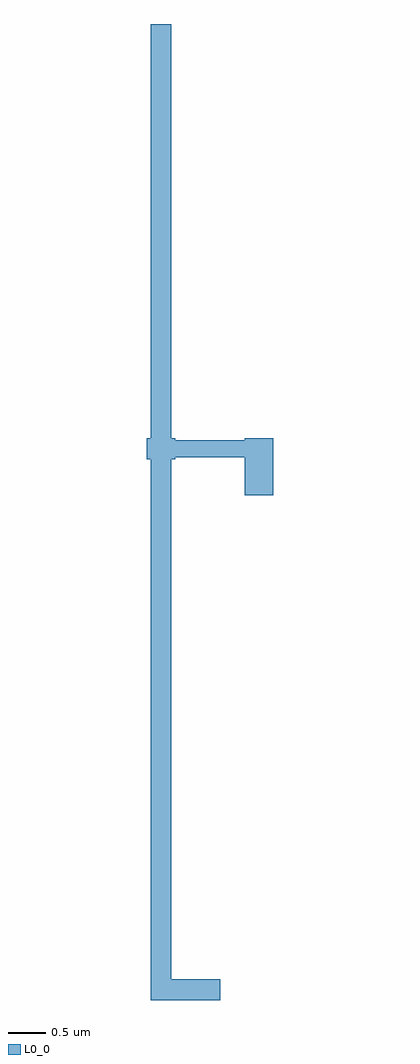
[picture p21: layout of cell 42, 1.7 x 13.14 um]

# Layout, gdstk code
import gdstk
lib = gdstk.Library(unit=1e-6, precision=1e-09)
def P(c, l, *ps):  # polygons
    for p in ps: c.add(gdstk.Polygon(p, *l))
L0_0 = (0, 0)

c_42 = lib.new_cell('42')
P(c_42, L0_0, [(949.295,994.395),(950.73,994.395),(950.73,994.165),(949.295,994.165),(949.295,994.395)],
  [(949.22,994.42),(949.6,994.42),(949.6,994.14),(949.22,994.14),(949.22,994.42)],
  [(950.54,994.42),(950.92,994.42),(950.92,993.655),(950.54,993.655),(950.54,994.42)],
  [(949.22,994.42),(949.6,994.42),(949.6,994.14),(949.22,994.14),(949.22,994.42)],
  [(949.27,994.65),(949.55,994.65),(949.55,993.91),(949.27,993.91),(949.27,994.65)],
  [(949.55,1000),(949.55,986.86),(949.27,986.86),(949.27,1000),(949.55,1000)],
  [(949.27,987.14),(950.21,987.14),(950.21,986.86),(949.27,986.86),(949.27,987.14)])

lib.write_gds('42.gds')
